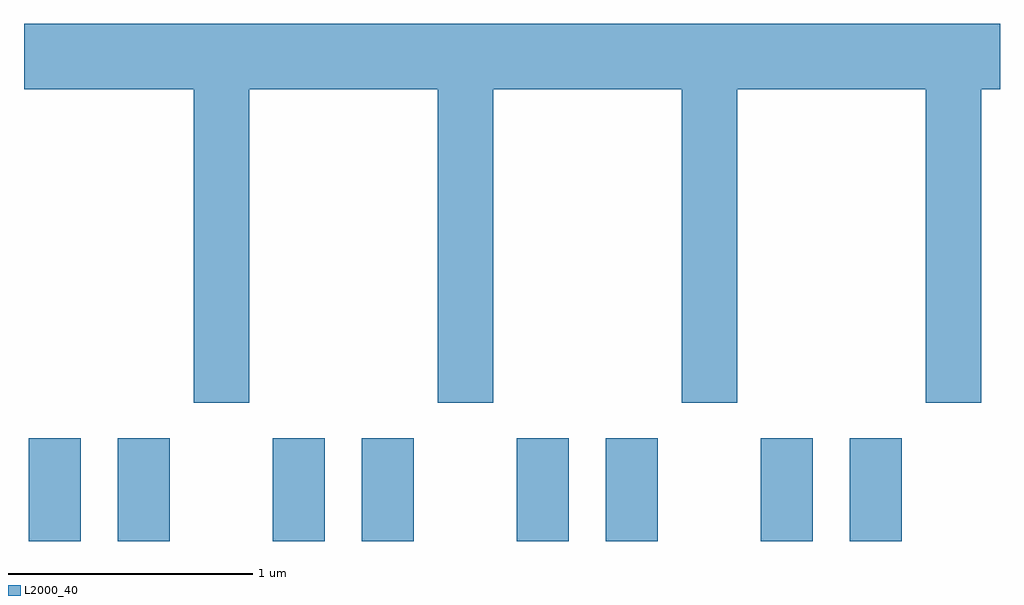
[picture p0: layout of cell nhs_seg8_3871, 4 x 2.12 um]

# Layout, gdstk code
import gdstk
lib = gdstk.Library(unit=1e-6, precision=1e-09)
def R(c, l, rs):  # rectangles x0, y0, x1, y1
    for r in rs: c.add(gdstk.rectangle(r[:2], r[2:], *l))
def P(c, l, *ps):  # polygons
    for p in ps: c.add(gdstk.Polygon(p, *l))
L2000_40 = (2000, 40)

nhs_seg8_3871 = lib.new_cell('nhs_seg8_3871')
R(nhs_seg8_3871, L2000_40, [(301.631,1832.342,301.844,1832.764), (301.996,1832.342,302.209,1832.764), (302.631,1832.342,302.844,1832.764), (302.996,1832.342,303.209,1832.764), (303.631,1832.342,303.844,1832.764), (303.996,1832.342,304.209,1832.764), (304.631,1832.342,304.844,1832.764), (304.996,1832.342,305.209,1832.764)])
P(nhs_seg8_3871, L2000_40, [(302.534,1834.196),(303.306,1834.196),(303.306,1832.911),(303.534,1832.911),(303.534,1834.196),(304.306,1834.196),(304.306,1832.911),(304.534,1832.911),(304.534,1834.196),(305.306,1834.196),(305.306,1832.911),(305.534,1832.911),(305.534,1834.196),(305.611,1834.196),(305.611,1834.464),(301.611,1834.464),(301.611,1834.196),(302.306,1834.196),(302.306,1832.911),(302.534,1832.911)])

lib.write_gds('nhs_seg8_3871.gds')
